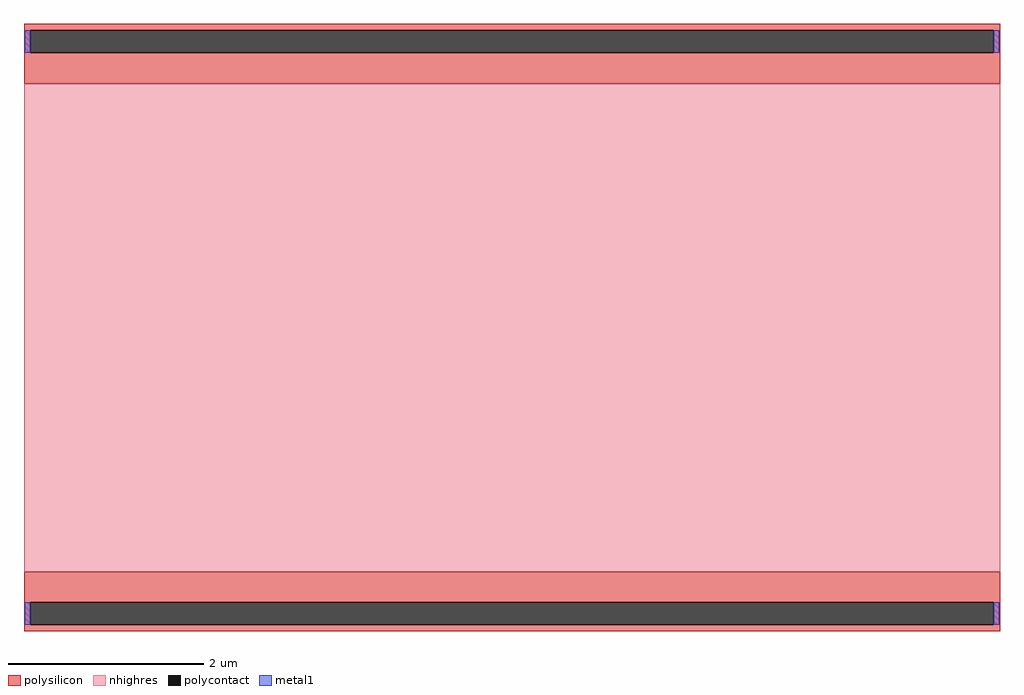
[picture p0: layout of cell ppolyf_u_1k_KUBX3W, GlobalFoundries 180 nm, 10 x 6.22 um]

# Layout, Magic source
magic
tech gf180mcuD
magscale 1 10
<< polysilicon >>
rect -1000 609 1000 622
rect -1000 563 -987 609
rect 987 563 1000 609
rect -1000 500 1000 563
rect -1000 -563 1000 -500
rect -1000 -609 -987 -563
rect 987 -609 1000 -563
rect -1000 -622 1000 -609
<< polycontact >>
rect -987 563 987 609
rect -987 -609 987 -563
<< nhighres >>
rect -1000 -500 1000 500
<< metal1 >>
rect -998 563 -987 609
rect 987 563 998 609
rect -998 -609 -987 -563
rect 987 -609 998 -563
<< properties >>
string gencell ppolyf_u_1k
string library gf180mcu
string parameters w 10.0 l 5.0 m 1 nx 1 wmin 1.000 lmin 1.000 class resistor rho 1000 val 501.484 dummy 0 dw 0.0296 term 0.0 sterm 0.0 caplen 0.4 snake 0 glc 0 grc 0 gtc 0 gbc 0 roverlap 0 endcov 100 full_metal 0 guard 0 guard_type pwell compatible {ppolyf_u_1k ppolyf_u_1k_6p0}
<< end >>
